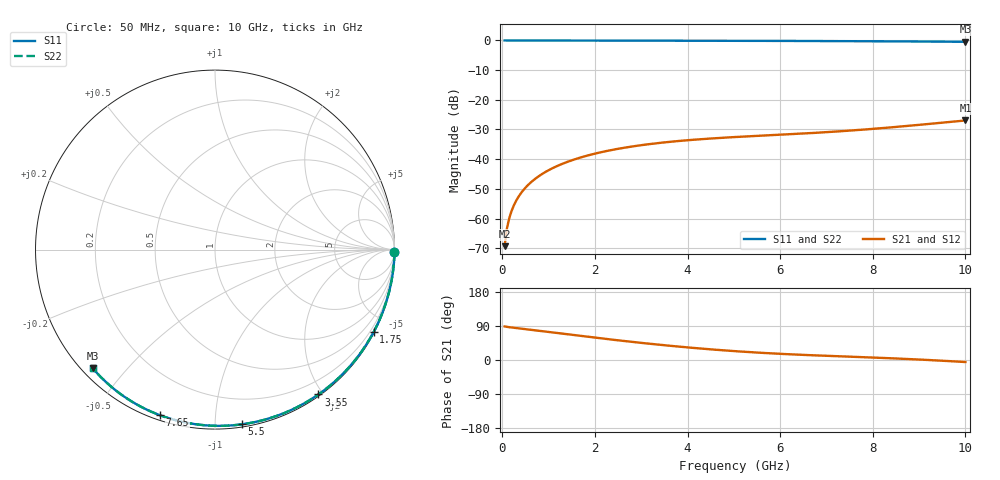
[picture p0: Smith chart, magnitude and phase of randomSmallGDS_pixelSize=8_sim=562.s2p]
! freq	dB(S11)	phase(S11)	dB(S12)	phase(S12)
!  dB(S21)	phase(S21)	dB(S22)	phase(S22)
!S-par simulation data
#  GHz  S  DB  R 50
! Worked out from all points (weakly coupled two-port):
!   200 points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, 50 MHz to 10 GHz, reference 50 ohm
!   highest |S21| = -26.96 dB at 10 GHz (marker M1); lowest = -69.3 dB at 50 MHz (marker M2)
!   lowest |S11| = -0.5 dB at 10 GHz (marker M3), VSWR 38.39, Z = 1.52 - j20.2 ohm
!   |S11| at or under -10 dB: nowhere
!   |S22| runs from -0.5 to 0.0 dB; largest |S21 - S12| = 0
!   S11 on the Smith chart (normalised r, x): 50 MHz: open; 1.75 GHz: 0.04, -4.08; 3.55 GHz: 0.02, -1.94; 5.5 GHz: 0.02, -1.16; 7.65 GHz: 0.02, -0.72; 10 GHz: 0.03, -0.40
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0.05  -0.00 -0.8  -69.31 88.6  -69.31 88.6  -0.00 -0.8
0.1  -0.00 -1.6  -63.36 87.4  -63.36 87.4  -0.00 -1.6
0.15  -0.00 -2.4  -59.90 86.6  -59.90 86.6  -0.00 -2.4
0.2  -0.00 -3.2  -57.45 85.8  -57.45 85.8  -0.00 -3.2
0.25  -0.00 -4.0  -55.55 85.1  -55.55 85.1  -0.00 -4.0
0.35  -0.00 -5.6  -52.67 83.7  -52.67 83.7  -0.00 -5.6
0.5  -0.01 -8.0  -49.61 81.5  -49.61 81.5  -0.01 -8.0
0.7  -0.01 -11.1  -46.74 78.5  -46.74 78.5  -0.01 -11.1
1  -0.02 -15.9  -43.72 73.9  -43.72 73.9  -0.02 -15.9
1.35  -0.03 -21.3  -41.24 68.6  -41.24 68.6  -0.03 -21.3
1.75  -0.04 -27.5  -39.16 62.7  -39.16 62.7  -0.04 -27.5
2.5  -0.05 -39.0  -36.50 51.9  -36.50 51.9  -0.05 -39.0
3.4  -0.07 -52.3  -34.51 40.2  -34.51 40.2  -0.07 -52.3
3.55  -0.07 -54.4  -34.26 38.4  -34.26 38.4  -0.07 -54.4
4.3  -0.09 -65.1  -33.26 30.1  -33.26 30.1  -0.09 -65.1
5.05  -0.12 -75.4  -32.52 23.1  -32.52 23.1  -0.12 -75.4
5.5  -0.13 -81.4  -32.15 19.6  -32.15 19.6  -0.13 -81.4
6.7  -0.19 -96.8  -31.18 12.5  -31.18 12.5  -0.19 -96.8
7.65  -0.24 -108.4  -30.21 8.1  -30.21 8.1  -0.24 -108.4
8.35  -0.29 -116.8  -29.34 4.8  -29.34 4.8  -0.29 -116.7
9.2  -0.37 -126.7  -28.15 0.0  -28.15 0.0  -0.37 -126.7
10  -0.45 -135.9  -26.96 -5.4  -26.96 -5.4  -0.45 -135.9
